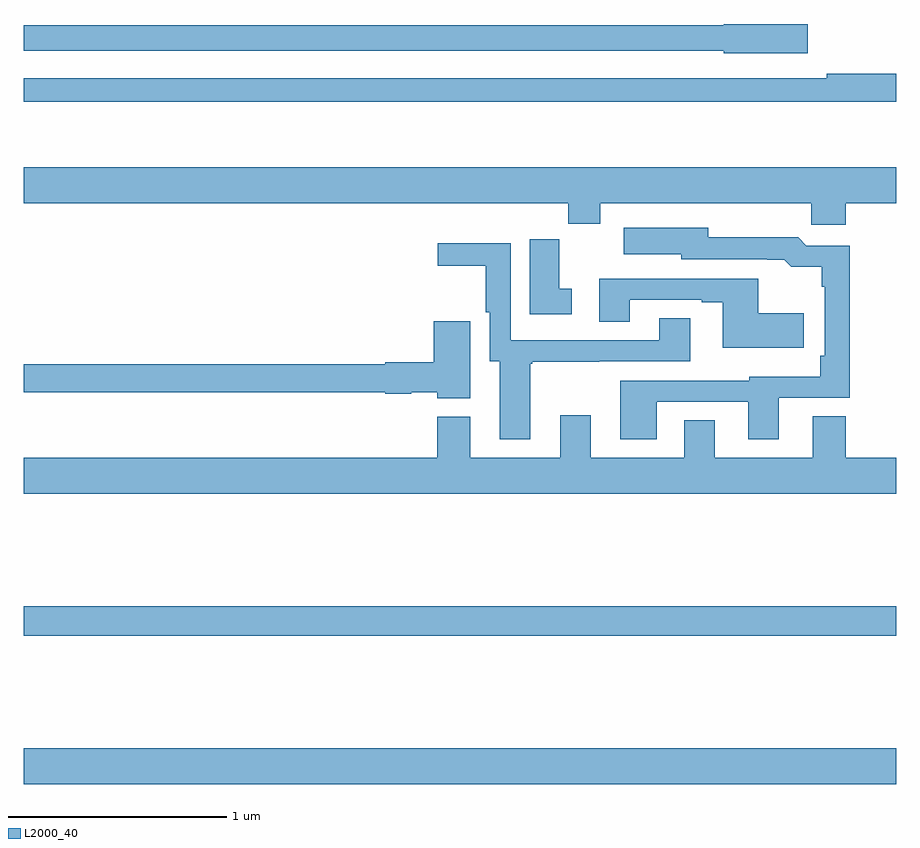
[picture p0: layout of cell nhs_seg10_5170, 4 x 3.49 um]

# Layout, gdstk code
import gdstk
lib = gdstk.Library(unit=1e-6, precision=1e-09)
def R(c, l, rs):  # rectangles x0, y0, x1, y1
    for r in rs: c.add(gdstk.rectangle(r[:2], r[2:], *l))
def P(c, l, *ps):  # polygons
    for p in ps: c.add(gdstk.Polygon(p, *l))
L2000_40 = (2000, 40)

nhs_seg10_5170 = lib.new_cell('nhs_seg10_5170')
R(nhs_seg10_5170, L2000_40, [(411,1314.968,415,1315.132), (411,1315.648,415,1315.784)])
P(nhs_seg10_5170, L2000_40, [(414.595,1318.454),(414.21,1318.454),(414.21,1318.448),(411,1318.448),(411,1318.332),(414.21,1318.332),(414.21,1318.319),(414.595,1318.319)],
  [(415,1318.226),(414.682,1318.226),(414.682,1318.206),(411,1318.206),(411,1318.098),(415,1318.098)],
  [(414.77,1317.632),(415,1317.632),(415,1317.796),(411,1317.796),(411,1317.632),(413.497,1317.632),(413.497,1317.537),(413.644,1317.537),(413.644,1317.632),(414.61,1317.632),(414.61,1317.534),(414.77,1317.534)],
  [(413.902,1316.721),(414.323,1316.721),(414.323,1316.55),(414.463,1316.55),(414.463,1316.739),(414.788,1316.739),(414.788,1317.438),(414.588,1317.438),(414.551,1317.475),(414.139,1317.475),(414.139,1317.52),(413.751,1317.52),(413.751,1317.398),(414.015,1317.398),(414.015,1317.375),(414.41,1317.375),(414.41,1317.373),(414.487,1317.373),(414.519,1317.341),(414.66,1317.341),(414.66,1317.248),(414.672,1317.248),(414.672,1316.932),(414.652,1316.932),(414.652,1316.836),(414.327,1316.836),(414.327,1316.817),(413.735,1316.817),(413.735,1316.55),(413.902,1316.55)],
  [(413.512,1317.24),(413.455,1317.24),(413.455,1317.467),(413.321,1317.467),(413.321,1317.122),(413.512,1317.122)],
  [(413.323,1316.895),(413.331,1316.895),(413.331,1316.905),(413.639,1316.905),(413.639,1316.907),(414.055,1316.907),(414.055,1317.104),(413.915,1317.104),(413.915,1317.003),(413.232,1317.003),(413.232,1317.449),(412.899,1317.449),(412.899,1317.346),(413.117,1317.346),(413.117,1317.132),(413.136,1317.132),(413.136,1316.907),(413.183,1316.907),(413.183,1316.55),(413.323,1316.55)],
  [(414.577,1317.127),(414.367,1317.127),(414.367,1317.285),(413.639,1317.285),(413.639,1317.088),(413.779,1317.088),(413.779,1317.189),(414.11,1317.189),(414.11,1317.177),(414.206,1317.177),(414.206,1316.969),(414.577,1316.969)],
  [(413.047,1317.091),(412.88,1317.091),(412.88,1316.902),(412.656,1316.902),(412.656,1316.894),(411,1316.894),(411,1316.766),(412.656,1316.766),(412.656,1316.758),(412.776,1316.758),(412.776,1316.765),(412.896,1316.765),(412.896,1316.738),(413.047,1316.738)],
  [(415,1316.464),(414.77,1316.464),(414.77,1316.654),(414.617,1316.654),(414.617,1316.464),(414.169,1316.464),(414.169,1316.636),(414.029,1316.636),(414.029,1316.464),(413.599,1316.464),(413.599,1316.659),(413.459,1316.659),(413.459,1316.464),(413.047,1316.464),(413.047,1316.653),(412.895,1316.653),(412.895,1316.464),(411,1316.464),(411,1316.3),(415,1316.3)])

lib.write_gds('nhs_seg10_5170.gds')
